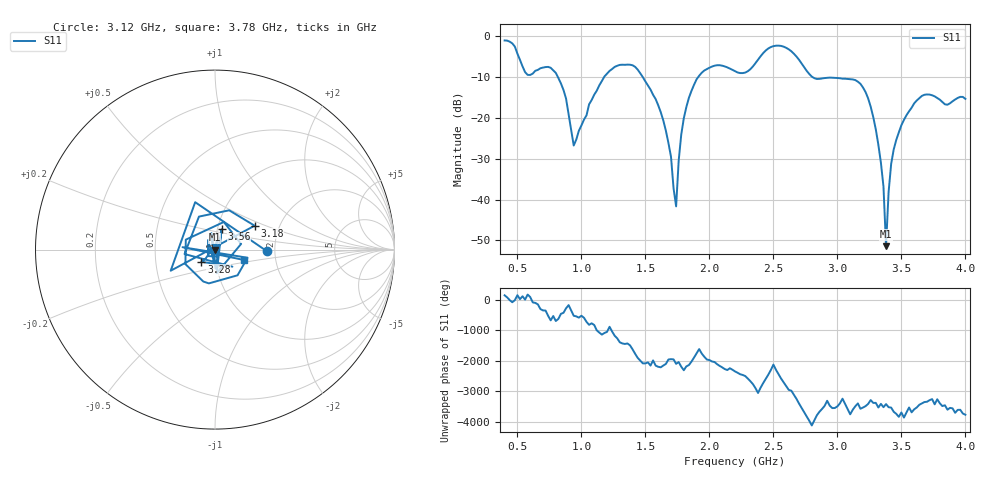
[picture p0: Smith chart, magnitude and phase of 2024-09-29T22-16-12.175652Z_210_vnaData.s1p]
!Created with skrf (http://scikit-rf.org).
# Hz S RI R 50.0
!freq ReS11 ImS11
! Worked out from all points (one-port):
!   181 points, 400 MHz to 4 GHz, reference 50 ohm
!   lowest |S11| = -51.4 dB at 3.38 GHz (marker M1), VSWR 1.01, Z = 49.7 - j0.0147 ohm
!   |S11| at or under -10 dB: 814.3 MHz to 1.18 GHz (365.3 MHz wide, 36.6 % of centre); 1.477 GHz to 1.915 GHz (438.8 MHz wide, 25.9 % of centre); 2.799 GHz to end of sweep
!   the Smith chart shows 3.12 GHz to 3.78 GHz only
!   S11 on the Smith chart (normalised r, x): 3.12 GHz: 1.82, -0.04; 3.18 GHz: 1.49, +0.43; 3.28 GHz: 0.85, -0.12; 3.56 GHz: 1.05, +0.24; 3.78 GHz: 1.38, -0.17
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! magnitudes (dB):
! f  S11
! 400 MHz  -1.2
! 580 MHz  -9.6
! 760 MHz  -7.9
! 860 MHz  -13.3
! 940 MHz  -26.8
! 1.14 GHz  -12.1
! 1.3 GHz  -7.2
! 1.42 GHz  -7.6
! 1.6 GHz  -17.0
! 1.7 GHz  -29.6
! 1.74 GHz  -41.7
! 1.76 GHz  -30.5
! 1.8 GHz  -20.2
! 1.9 GHz  -10.7
! 2.2 GHz  -8.7
! 2.5 GHz  -2.6
! 2.66 GHz  -4.4
! 2.82 GHz  -10.4
! 3.1 GHz  -10.6
! 3.12 GHz  -10.7
! 3.18 GHz  -11.8
! 3.28 GHz  -19.9
! 3.36 GHz  -36.9
! 3.38 GHz  -51.4
! 3.42 GHz  -31.3
! 3.56 GHz  -18.5
! 3.78 GHz  -15.2
! 4 GHz  -15.4
